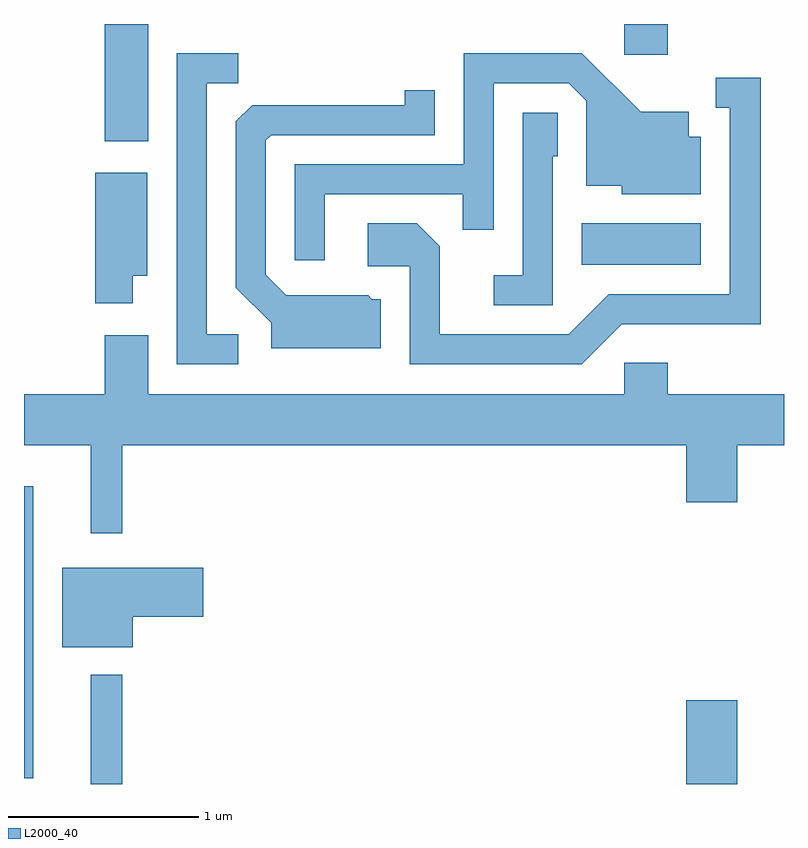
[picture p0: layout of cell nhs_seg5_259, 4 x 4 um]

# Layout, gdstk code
import gdstk
lib = gdstk.Library(unit=1e-6, precision=1e-09)
def R(c, l, rs):  # rectangles x0, y0, x1, y1
    for r in rs: c.add(gdstk.rectangle(r[:2], r[2:], *l))
def P(c, l, *ps):  # polygons
    for p in ps: c.add(gdstk.Polygon(p, *l))
L2000_40 = (2000, 40)

nhs_seg5_259 = lib.new_cell('nhs_seg5_259')
R(nhs_seg5_259, L2000_40, [(191.961,1506.072,192.129,1506.648), (195.096,1506.072,195.364,1506.514), (191.611,1506.101,191.659,1507.638), (194.546,1508.806,195.174,1509.024), (192.036,1509.456,192.264,1510.072), (194.771,1509.911,194.999,1510.072)])
P(nhs_seg5_259, L2000_40, [(192.738,1508.439),(192.574,1508.439),(192.574,1509.761),(192.738,1509.761),(192.738,1509.919),(192.416,1509.919),(192.416,1508.281),(192.738,1508.281)],
  [(193.194,1509.176),(193.921,1509.176),(193.921,1508.988),(194.084,1508.988),(194.084,1509.761),(194.479,1509.761),(194.571,1509.669),(194.571,1509.221),(194.756,1509.221),(194.756,1509.176),(195.174,1509.176),(195.174,1509.479),(195.109,1509.479),(195.109,1509.609),(194.857,1509.609),(194.547,1509.919),(193.926,1509.919),(193.926,1509.334),(193.036,1509.334),(193.036,1508.828),(193.194,1508.828)],
  [(194.757,1508.491),(195.489,1508.491),(195.489,1509.789),(195.253,1509.789),(195.253,1509.631),(195.326,1509.631),(195.326,1508.649),(194.689,1508.649),(194.479,1508.439),(193.799,1508.439),(193.799,1508.902),(193.677,1509.024),(193.421,1509.024),(193.421,1508.796),(193.641,1508.796),(193.641,1508.281),(194.547,1508.281)],
  [(193.489,1508.624),(193.442,1508.624),(193.422,1508.644),(192.992,1508.644),(192.884,1508.752),(192.884,1509.459),(192.912,1509.486),(193.774,1509.486),(193.774,1509.723),(193.616,1509.723),(193.616,1509.644),(192.812,1509.644),(192.726,1509.559),(192.726,1508.684),(192.911,1508.499),(192.911,1508.366),(193.489,1508.366)],
  [(194.394,1509.376),(194.419,1509.376),(194.419,1509.604),(194.236,1509.604),(194.236,1508.749),(194.083,1508.749),(194.083,1508.591),(194.394,1508.591)],
  [(192.184,1508.746),(192.259,1508.746),(192.259,1509.289),(191.986,1509.289),(191.986,1508.601),(192.184,1508.601)],
  [(192.129,1507.856),(195.096,1507.856),(195.096,1507.556),(195.364,1507.556),(195.364,1507.856),(195.611,1507.856),(195.611,1508.124),(194.999,1508.124),(194.999,1508.289),(194.771,1508.289),(194.771,1508.124),(192.264,1508.124),(192.264,1508.434),(192.036,1508.434),(192.036,1508.124),(191.611,1508.124),(191.611,1507.856),(191.961,1507.856),(191.961,1507.393),(192.129,1507.393)],
  [(192.184,1506.951),(192.554,1506.951),(192.554,1507.209),(191.811,1507.209),(191.811,1506.791),(192.184,1506.791)])

lib.write_gds('nhs_seg5_259.gds')
